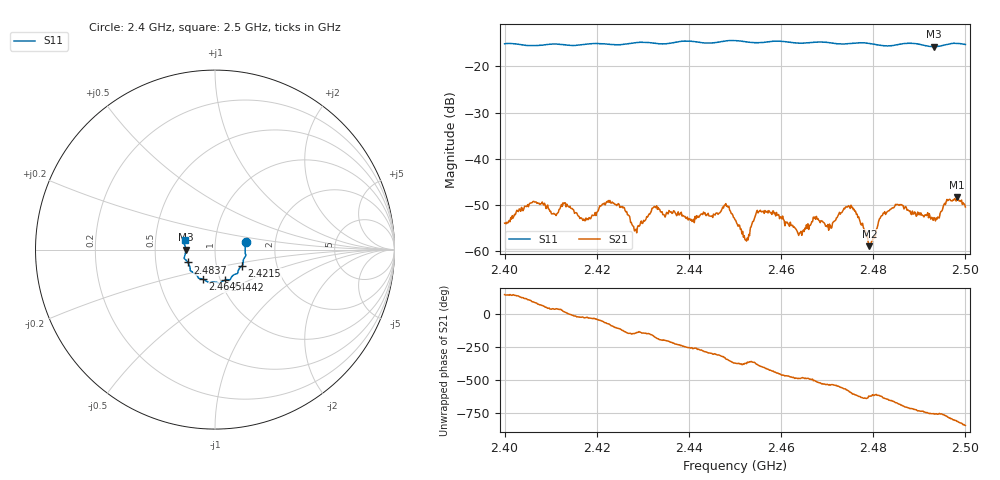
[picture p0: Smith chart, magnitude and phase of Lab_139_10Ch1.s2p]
# Hz S RI R
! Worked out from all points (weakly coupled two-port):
!   601 points, 2.4 GHz to 2.5 GHz, reference 50 ohm
!   highest |S21| = -48.27 dB at 2.4982 GHz (marker M1); lowest = -58.9 dB at 2.4792 GHz (marker M2)
!   lowest |S11| = -15.7 dB at 2.4932 GHz (marker M3), VSWR 1.39, Z = 36 - j0.0542 ohm
!   |S11| at or under -10 dB: start of sweep to end of sweep
!   S12 and S22 are empty: the file has one direction only
!   S11 on the Smith chart (normalised r, x): 2.4 GHz: 1.41, +0.12; 2.4215 GHz: 1.33, -0.25; 2.4442 GHz: 1.05, -0.37; 2.4645 GHz: 0.83, -0.29; 2.4837 GHz: 0.73, -0.11; 2.5 GHz: 0.71, +0.07
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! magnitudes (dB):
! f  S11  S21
! 2.4 GHz  -15.1  -53.9
! 2.4063 GHz  -15.5  -49.2
! 2.4167 GHz  -15.3  -52.8
! 2.4215 GHz  -15.1  -49.8
! 2.4257 GHz  -15.2  -50.6
! 2.4283 GHz  -14.9  -55.5
! 2.4333 GHz  -15.1  -50.6
! 2.4442 GHz  -15.0  -51.8
! 2.4482 GHz  -14.5  -50.3
! 2.45 GHz  -14.4  -53.2
! 2.4523 GHz  -14.7  -57.6
! 2.4552 GHz  -14.9  -51.5
! 2.4645 GHz  -15.0  -56.6
! 2.4667 GHz  -14.8  -53.6
! 2.4705 GHz  -14.9  -54.2
! 2.475 GHz  -15.1  -50.8
! 2.4792 GHz  -15.0  -58.9
! 2.4833 GHz  -15.6  -51.3
! 2.4837 GHz  -15.5  -51.0
! 2.4932 GHz  -15.7  -52.8
! 2.4982 GHz  -15.0  -48.3
! 2.5 GHz  -15.3  -50.4
